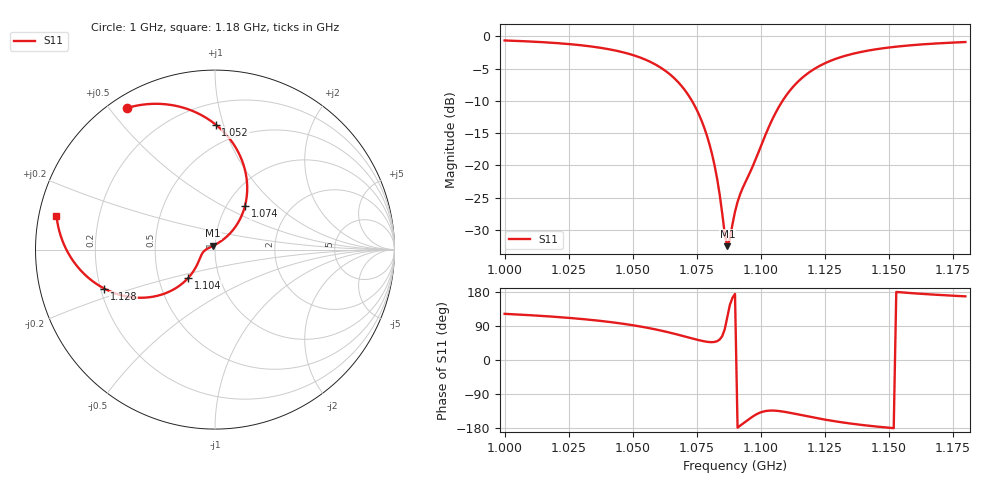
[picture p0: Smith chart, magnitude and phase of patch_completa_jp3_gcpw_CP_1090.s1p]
! Sonnet Data File
! From: em Version : 19.54.2026
! From Project: patch_completa_jp3_gcpw_CP_1090
! Data is De-embedded
! Data File Written: 10/22/2026 09:21:51
!< HDATE 10/22/2026 09:10:23
!< MDATE 10/22/2026 09:10:23
# GHZ S RI R 50.00000
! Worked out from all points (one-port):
!   181 points, 1 GHz to 1.18 GHz, reference 50 ohm
!   lowest |S11| = -32.5 dB at 1.087 GHz (marker M1), VSWR 1.05, Z = 49 + j2.13 ohm
!   |S11| at or under -10 dB: 1.073 GHz to 1.109 GHz (35.39 MHz wide, 3.24 % of centre)
!   S11 on the Smith chart (normalised r, x): 1 GHz: 0.05, +0.56; 1.052 GHz: 0.35, +0.94; 1.074 GHz: 1.21, +0.65; 1.104 GHz: 0.71, -0.23; 1.128 GHz: 0.21, -0.16; 1.18 GHz: 0.05, +0.10
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1  -0.4895 0.7891
1.023  -0.3327 0.8124
1.036  -0.2026 0.7975
1.046  -0.0776 0.7503
1.052  0.00477 0.6958
1.06  0.1097 0.5778
1.068  0.1754 0.4006
1.071  0.179 0.3228
1.074  0.1674 0.2444
1.078  0.1277 0.1483
1.081  0.0838 0.0902
1.083  0.0514 0.0605
1.084  0.0352 0.0484
1.086  0.0045 0.0292
1.087  -0.0095 0.0218
1.088  -0.0223 0.0153
1.09  -0.0436 0.00424
1.092  -0.0595 -0.00701
1.097  -0.0851 -0.0514
1.104  -0.1479 -0.1562
1.108  -0.216 -0.2133
1.113  -0.3226 -0.2577
1.12  -0.4748 -0.2639
1.128  -0.6169 -0.2172
1.135  -0.7068 -0.1559
1.145  -0.7905 -0.063
1.158  -0.8487 0.0459
1.18  -0.8831 0.1879
